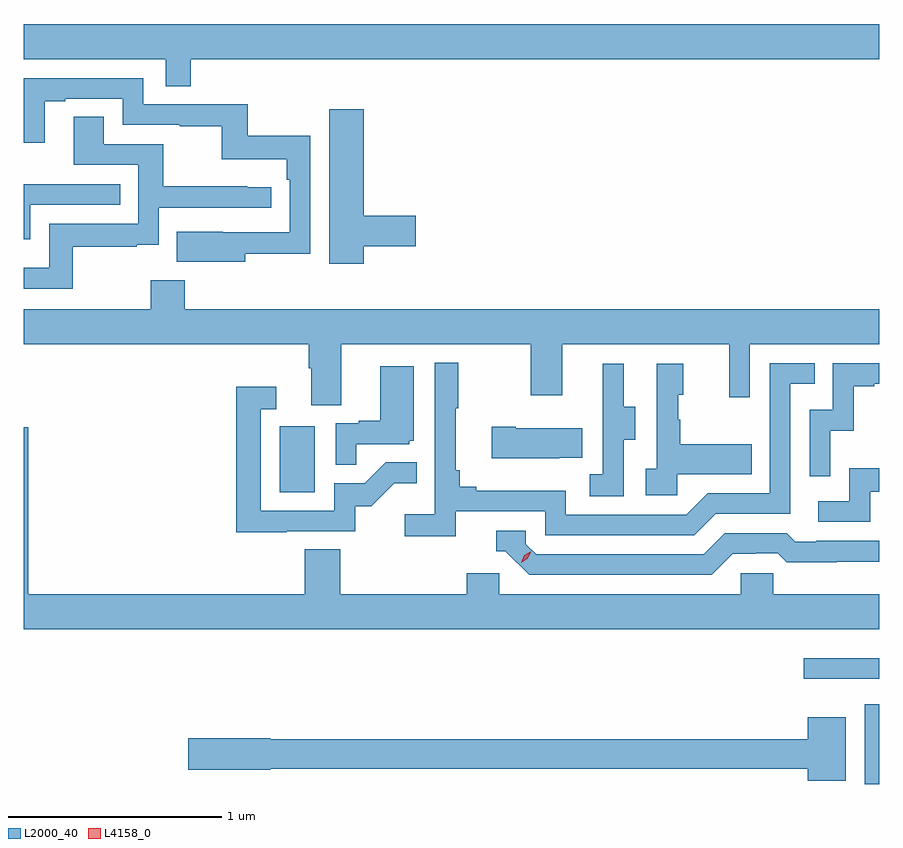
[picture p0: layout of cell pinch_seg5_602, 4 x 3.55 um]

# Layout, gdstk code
import gdstk
lib = gdstk.Library(unit=1e-6, precision=1e-09)
def R(c, l, rs):  # rectangles x0, y0, x1, y1
    for r in rs: c.add(gdstk.rectangle(r[:2], r[2:], *l))
def P(c, l, *ps):  # polygons
    for p in ps: c.add(gdstk.Polygon(p, *l))
L2000_40 = (2000, 40)
L4158_0 = (4158, 0)

pinch_seg5_602 = lib.new_cell('pinch_seg5_602')
R(pinch_seg5_602, L2000_40, [(1081.583,857.368,1081.652,857.74), (1081.299,857.859,1081.652,857.956), (1078.85,858.732,1079.014,859.039)])
P(pinch_seg5_602, L2000_40, [(1078.433,860.756),(1081.652,860.756),(1081.652,860.92),(1077.652,860.92),(1077.652,860.756),(1078.317,860.756),(1078.317,860.629),(1078.433,860.629)],
  [(1078.687,859.846),(1078.992,859.846),(1078.992,860.398),(1078.699,860.398),(1078.699,860.544),(1078.212,860.544),(1078.212,860.667),(1077.654,860.667),(1077.654,860.463),(1077.652,860.463),(1077.652,860.366),(1077.751,860.366),(1077.751,860.559),(1077.847,860.559),(1077.847,860.571),(1078.116,860.571),(1078.116,860.448),(1078.381,860.448),(1078.381,860.443),(1078.578,860.443),(1078.578,860.288),(1078.883,860.288),(1078.883,860.192),(1078.896,860.192),(1078.896,859.947),(1078.583,859.947),(1078.583,859.948),(1078.369,859.948),(1078.369,859.808),(1078.687,859.808)],
  [(1079.242,859.882),(1079.485,859.882),(1079.485,860.024),(1079.242,860.024),(1079.242,860.521),(1079.081,860.521),(1079.081,859.8),(1079.242,859.8)],
  [(1077.883,859.878),(1078.181,859.878),(1078.181,859.889),(1078.284,859.889),(1078.284,860.061),(1078.81,860.061),(1078.81,860.157),(1078.697,860.157),(1078.697,860.162),(1078.304,860.162),(1078.304,860.358),(1078.027,860.358),(1078.027,860.486),(1077.887,860.486),(1077.887,860.262),(1078.188,860.262),(1078.188,859.986),(1077.772,859.986),(1077.772,859.78),(1077.652,859.78),(1077.652,859.683),(1077.883,859.683)],
  [(1077.684,860.076),(1078.103,860.076),(1078.103,860.172),(1077.652,860.172),(1077.652,859.913),(1077.684,859.913)],
  [(1079.137,859.424),(1080.022,859.424),(1080.022,859.185),(1080.169,859.185),(1080.169,859.424),(1080.95,859.424),(1080.95,859.176),(1081.047,859.176),(1081.047,859.424),(1081.652,859.424),(1081.652,859.588),(1078.406,859.588),(1078.406,859.723),(1078.246,859.723),(1078.246,859.588),(1077.652,859.588),(1077.652,859.424),(1078.985,859.424),(1078.985,859.312),(1078.997,859.312),(1078.997,859.138),(1079.137,859.138)],
  [(1079.672,858.642),(1080.09,858.642),(1080.09,858.531),(1080.787,858.531),(1080.886,858.63),(1081.236,858.63),(1081.236,859.239),(1081.349,859.239),(1081.349,859.335),(1081.14,859.335),(1081.14,858.726),(1080.849,858.726),(1080.75,858.627),(1080.186,858.627),(1080.186,858.739),(1079.767,858.739),(1079.767,858.758),(1079.69,858.758),(1079.69,858.835),(1079.671,858.835),(1079.671,859.123),(1079.683,859.123),(1079.683,859.336),(1079.574,859.336),(1079.574,858.628),(1079.433,858.628),(1079.433,858.526),(1079.672,858.526)],
  [(1081.422,859.019),(1081.532,859.019),(1081.532,859.227),(1081.627,859.227),(1081.627,859.239),(1081.652,859.239),(1081.652,859.335),(1081.434,859.335),(1081.434,859.116),(1081.326,859.116),(1081.326,858.807),(1081.422,858.807)],
  [(1080.456,858.976),(1080.511,858.976),(1080.511,859.131),(1080.457,859.131),(1080.457,859.333),(1080.359,859.333),(1080.359,859.119),(1080.36,859.119),(1080.36,858.815),(1080.297,858.815),(1080.297,858.712),(1080.456,858.712)],
  [(1080.708,858.815),(1081.055,858.815),(1081.055,858.955),(1080.721,858.955),(1080.721,859.07),(1080.711,859.07),(1080.711,859.188),(1080.736,859.188),(1080.736,859.333),(1080.612,859.333),(1080.612,858.842),(1080.561,858.842),(1080.561,858.717),(1080.708,858.717)],
  [(1079.207,858.957),(1079.454,858.957),(1079.454,858.972),(1079.476,858.972),(1079.476,859.321),(1079.318,859.321),(1079.318,859.066),(1079.219,859.066),(1079.219,859.053),(1079.112,859.053),(1079.112,858.859),(1079.207,858.859)],
  [(1078.883,858.549),(1079.202,858.549),(1079.202,858.666),(1079.278,858.666),(1079.385,858.773),(1079.489,858.773),(1079.489,858.872),(1079.345,858.872),(1079.247,858.774),(1079.103,858.774),(1079.103,858.645),(1078.761,858.645),(1078.761,859.119),(1078.834,859.119),(1078.834,859.225),(1078.645,859.225),(1078.645,858.544),(1078.883,858.544)],
  [(1080.155,858.893),(1080.263,858.893),(1080.263,859.03),(1079.953,859.03),(1079.953,859.038),(1079.841,859.038),(1079.841,858.89),(1080.155,858.89)],
  [(1081.652,858.256),(1081.155,858.256),(1081.155,858.354),(1081.005,858.354),(1081.005,858.256),(1079.874,858.256),(1079.874,858.354),(1079.723,858.354),(1079.723,858.256),(1079.132,858.256),(1079.132,858.464),(1078.967,858.464),(1078.967,858.256),(1077.674,858.256),(1077.674,859.036),(1077.652,859.036),(1077.652,858.092),(1081.652,858.092)],
  [(1081.608,858.735),(1081.652,858.735),(1081.652,858.844),(1081.512,858.844),(1081.512,858.69),(1081.365,858.69),(1081.365,858.594),(1081.608,858.594)],
  [(1080.967,858.444),(1081.074,858.444),(1081.074,858.447),(1081.177,858.447),(1081.219,858.405),(1081.452,858.405),(1081.452,858.407),(1081.652,858.407),(1081.652,858.506),(1081.65,858.504),(1081.357,858.504),(1081.357,858.501),(1081.258,858.501),(1081.219,858.54),(1080.93,858.54),(1080.831,858.441),(1080.048,858.441),(1080,858.489),(1080,858.552),(1079.861,858.552),(1079.861,858.456),(1079.904,858.456),(1080.015,858.345),(1080.868,858.345)],
  [(1081.495,857.68),(1081.316,857.68),(1081.316,857.576),(1078.806,857.576),(1078.806,857.582),(1078.422,857.582),(1078.422,857.435),(1078.806,857.435),(1078.806,857.44),(1081.316,857.44),(1081.316,857.384),(1081.495,857.384)])
P(pinch_seg5_602, L4158_0, [(1079.977,858.403),(1079.977,858.403),(1079.993,858.436),(1080.024,858.455),(1080.024,858.455),(1080.024,858.455),(1080.008,858.422),(1079.977,858.403)])

lib.write_gds('pinch_seg5_602.gds')
